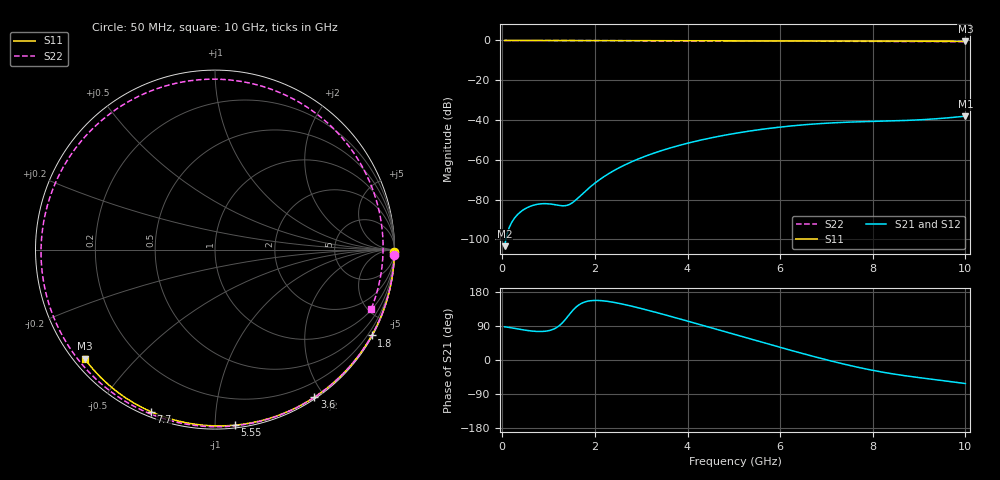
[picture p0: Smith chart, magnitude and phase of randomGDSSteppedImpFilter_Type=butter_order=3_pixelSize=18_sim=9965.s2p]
! freq	dB(S11)	phase(S11)	dB(S12)	phase(S12)
!  dB(S21)	phase(S21)	dB(S22)	phase(S22)
!S-par simulation data
#  GHz  S  DB  R 50
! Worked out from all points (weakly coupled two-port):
!   200 points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, 50 MHz to 10 GHz, reference 50 ohm
!   highest |S21| = -38.05 dB at 10 GHz (marker M1); lowest = -103.4 dB at 50 MHz (marker M2)
!   lowest |S11| = -0.5 dB at 10 GHz (marker M3), VSWR 36.64, Z = 1.54 - j18.1 ohm
!   |S11| at or under -10 dB: nowhere
!   |S22| runs from -0.6 to 0.0 dB; largest |S21 - S12| = 0
!   S11 on the Smith chart (normalised r, x): 50 MHz: open; 1.8 GHz: 0.03, -3.91; 3.6 GHz: 0.02, -1.88; 5.55 GHz: 0.02, -1.12; 7.7 GHz: 0.02, -0.68; 10 GHz: 0.03, -0.36
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0.05  -0.00 -0.8  -103.39 87.6  -103.39 87.6  -0.00 -1.8
0.8  -0.01 -12.9  -82.19 75.2  -82.19 75.2  -0.03 -28.4
1.6  -0.03 -25.6  -79.93 140.3  -79.93 140.3  -0.07 -56.2
1.75  -0.04 -27.9  -76.70 151.7  -76.70 151.7  -0.08 -61.4
1.8  -0.04 -28.7  -75.63 153.8  -75.63 153.8  -0.08 -63.1
2.15  -0.04 -34.2  -69.16 156.5  -69.16 156.5  -0.09 -74.9
2.5  -0.05 -39.5  -64.27 150.0  -64.27 150.0  -0.11 -86.7
2.95  -0.06 -46.4  -59.43 137.4  -59.43 137.4  -0.13 -101.6
3.4  -0.07 -53.1  -55.64 123.0  -55.64 123.0  -0.15 -116.5
3.6  -0.08 -56.1  -54.20 116.3  -54.20 116.3  -0.16 -123.2
4.35  -0.10 -66.9  -49.74 90.6  -49.74 90.6  -0.21 -148.3
5.05  -0.12 -76.8  -46.60 66.3  -46.60 66.3  -0.26 -172.7
5.55  -0.14 -83.6  -44.83 48.9  -44.83 48.9  -0.30 169.0
6.1  -0.16 -91.0  -43.29 30.0  -43.29 30.0  -0.34 147.6
6.7  -0.19 -98.9  -42.04 10.0  -42.04 10.0  -0.39 122.8
7.2  -0.22 -105.3  -41.34 -5.6  -41.34 -5.6  -0.43 100.9
7.7  -0.26 -111.7  -40.88 -19.8  -40.88 -19.8  -0.47 78.2
8.35  -0.31 -119.8  -40.47 -35.0  -40.47 -35.0  -0.50 48.4
8.75  -0.34 -124.7  -40.17 -42.4  -40.17 -42.4  -0.52 30.3
9.15  -0.38 -129.7  -39.70 -48.8  -39.70 -48.8  -0.55 13.0
9.55  -0.42 -134.6  -39.03 -54.9  -39.03 -54.9  -0.58 -3.5
10  -0.47 -140.1  -38.05 -62.1  -38.05 -62.1  -0.62 -20.8
